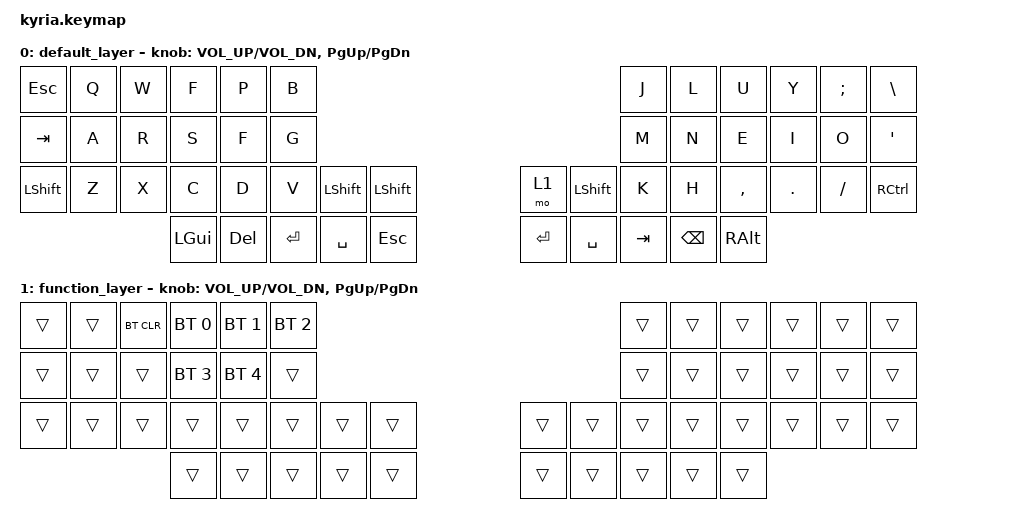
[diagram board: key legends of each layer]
/*
 * Copyright (c) 2023 The ZMK Contributors
 *
 * SPDX-License-Identifier: MIT
 */

#include <behaviors.dtsi>
#include <dt-bindings/zmk/bt.h>
#include <dt-bindings/zmk/keys.h>

/* Uncomment this block if using RGB

&led_strip {
    chain-length = <6>;
    // chain-length = <31>; // Uncomment if using both per-key and underglow LEDs
    chain-length = <25>; // Uncomment if using only per-key LEDs.
};
 */

/ {
    keymap {
        compatible = "zmk,keymap";

        default_layer {
            // ---------------------------------------------------------------------------------------------------------------------------------
            // |  ESC  |  Q  |  W  |  F   |  P   |  B   |                                          |  J   |  L    |  U    |  Y   |   ;   |   \  |
            // |  TAB  |  A  |  R  |  S   |  T   |  G   |                                          |  M   |  N    |  E    |  I   |   O   |   '  |
            // | SHIFT |  Z  |  X  |  C   |  D   |  V   | L SHIFT | L SHIFT |  | LAYER 1 | L SHIFT |  K   |  H    |  ,    |  .   |   /   | CTRL |
            //                     | GUI  | DEL  | RET  |  SPACE  |   ESC   |  |   RET   |  SPACE  | TAB  | BSPC  | R-ALT |
            bindings = <
            &kp ESC   &kp Q &kp W &kp F &kp P &kp B                                                  &kp J &kp L  &kp U     &kp Y   &kp SEMI	&kp BSLH
            &kp TAB   &kp A &kp R &kp S &kp F &kp G                                                  &kp M &kp N  &kp E     &kp I   &kp O	&kp SQT
            &kp LSHFT &kp Z &kp X &kp C &kp D &kp V &kp LSHFT &kp LSHFT            &mo 1   &kp LSHFT &kp K &kp H  &kp COMMA &kp DOT &kp FSLH &kp RCTRL
                                  &kp LGUI &kp DEL &kp RET &kp SPACE &kp ESC       &kp RET &kp SPACE &kp TAB &kp BSPC &kp RALT
            >;

            sensor-bindings = <&inc_dec_kp C_VOL_UP C_VOL_DN &inc_dec_kp PG_UP PG_DN>;
        };
        function_layer {
            // ---------------------------------------------------------------------------------------------------------------------------------
            // |       |      |BT_CLR|BTSEL0|BTSEL1|BTSEL2|                                         |      |      |      |      |      |      |
            // |       |      |      |BTSEL3|BTSEL4|      |                                         |      |      |      |      |      |      |
            // |       |      |      |      |      |      |      |      |      |      |      |      |      |      |      |      |      |      |
            //                       |      |      |      |      |      |      |      |      |      |      |      |      |
            bindings = <
            &trans &trans &bt BT_CLR &bt BT_SEL 0 &bt BT_SEL 1 &bt BT_SEL 2              &trans &trans &trans &trans &trans &trans
            &trans &trans &trans     &bt BT_SEL 3 &bt BT_SEL 4 &trans                    &trans &trans &trans &trans &trans &trans
            &trans &trans &trans &trans &trans &trans &trans &trans        &trans &trans &trans &trans &trans &trans &trans &trans
                                 &trans &trans &trans &trans &trans        &trans &trans &trans &trans &trans
            >;

            sensor-bindings = <&inc_dec_kp C_VOL_UP C_VOL_DN &inc_dec_kp PG_UP PG_DN>;
        };
    };
};
